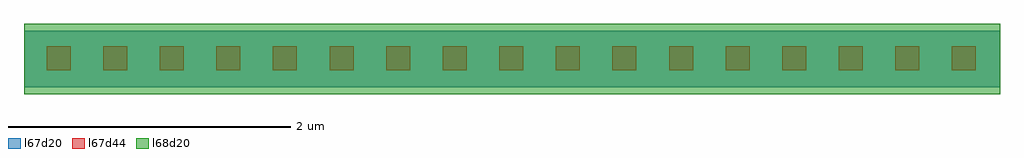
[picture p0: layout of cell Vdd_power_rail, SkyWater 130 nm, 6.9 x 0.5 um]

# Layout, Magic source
magic
tech sky130a
<< l67d20 >>
rect -815 585 -125 625
<< l67d44 >>
rect -799 597 -782 614
rect -759 597 -742 614
rect -719 597 -702 614
rect -679 597 -662 614
rect -639 597 -622 614
rect -599 597 -582 614
rect -559 597 -542 614
rect -519 597 -502 614
rect -479 597 -462 614
rect -439 597 -422 614
rect -399 597 -382 614
rect -359 597 -342 614
rect -319 597 -302 614
rect -279 597 -262 614
rect -239 597 -222 614
rect -199 597 -182 614
rect -159 597 -142 614
<< l68d20 >>
rect -815 580 -125 630
<< end >>
